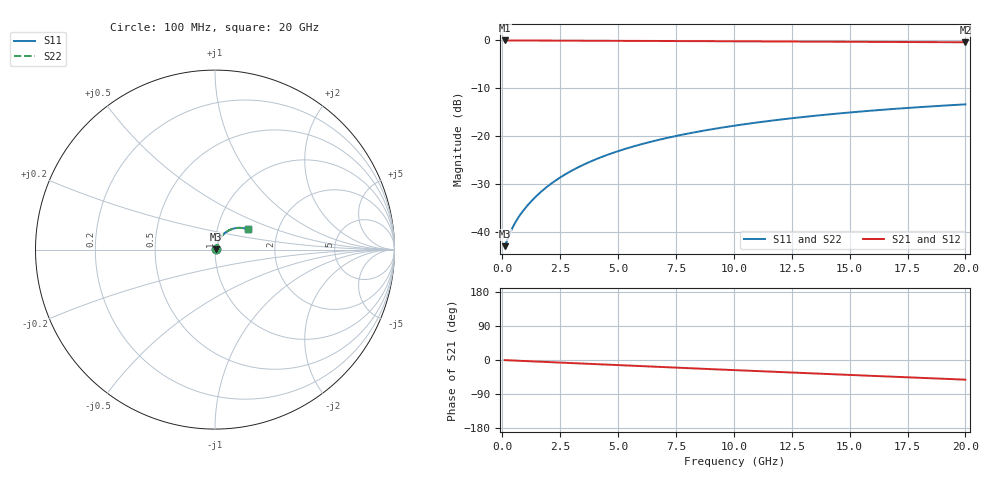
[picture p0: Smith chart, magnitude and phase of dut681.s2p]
! Touchstone file exported from HFSS 2026.1.0
!  File:  C:/ffzhzh/LocalFiles/Ansys_Project_Files/temp_train_TMRDL_681_1783010121_46388.aedt
!  Generated:  12:36:45 AM Jul  3, 2026
!  Design:  TMRDL
!  Project:  temp_train_TMRDL_681_1783010121_46388
! Variables:
!  h_bsmrdl = 2um
!  h_ox = 20um
!  h_rdl = 5um
!  h_sub = 80um
!  h_tmrdl = 3.41um
!  h_tsv = 80um
!  h_via = 3um
!  l_bsmrdl = 300um
!  l_sub = 1320.03um
!  l_tmrdl = 920.03um
!  m_sub = 200um
!  pitch = 20.82um
!  r_tsv = 6um
!  s_tmrdl = 10um
!  w_bsmrdl = 18um
!  w_sub = 500um
!  w_tmrdl = 14.12um
!  x_tsv_center1 = 927.09um
!  x_tsv_center2 = 1245.09um
!  x_tsv_center3 = 2179.24um
!  x_tsv_center4 = 2497.24um
!  x_tsv_center5 = 3431.39um
!  x_tsv_center6 = 3749.39um
# GHz S MA R 50.000000
! Terminal data exported
! Port[1] = TM_RDL1_1_T1
! Port[2] = TM_RDL1_1_T2
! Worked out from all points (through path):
!   200 points, 100 MHz to 20 GHz, reference 50 ohm
!   highest |S21| = -0.06 dB at 100 MHz (marker M1); lowest = -0.4 dB at 20 GHz (marker M2)
!   group delay of S21, straight-line fit = 7.19 ps
!   lowest |S11| = -43.0 dB at 100 MHz (marker M3), VSWR 1.01, Z = 50.7 + j0.195 ohm
!   |S11| at or under -10 dB: start of sweep to end of sweep
!   |S22| runs from -43.0 to -13.4 dB; largest |S21 - S12| = 4.1e-15
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0.1  0.007117 15.6  0.9932 -0.3  0.9932 -0.3  0.007117 15.6
! Gamma 0 0 0 0
! Port Impedance 50 0 50 0
0.4  0.01056 40.9  0.9921 -1.2  0.9921 -1.2  0.01056 40.9
0.6  0.01304 47.9  0.9915 -1.7  0.9915 -1.7  0.01304 47.9
0.7  0.01425 50.4  0.9913 -2.0  0.9913 -2.0  0.01425 50.4
0.9  0.01665 54.5  0.9909 -2.5  0.9909 -2.5  0.01665 54.5
1.1  0.01907 57.7  0.9906 -3.1  0.9906 -3.1  0.01907 57.7
1.3  0.02153 60.2  0.9903 -3.6  0.9903 -3.6  0.02153 60.1
1.5  0.02404 62.1  0.9901 -4.1  0.9901 -4.1  0.02404 62.1
1.8  0.02788 64.2  0.9898 -5.0  0.9898 -5.0  0.02788 64.2
2.3  0.03439 66.3  0.9892 -6.3  0.9892 -6.3  0.0344 66.2
2.9  0.0423 67.3  0.9884 -7.9  0.9884 -7.9  0.04231 67.3
3.5  0.05021 67.4  0.9875 -9.5  0.9875 -9.5  0.05022 67.4
4.2  0.05936 66.9  0.9863 -11.4  0.9863 -11.4  0.05937 66.9
5  0.06965 65.8  0.9847 -13.6  0.9847 -13.6  0.06966 65.8
5.9  0.08096 64.2  0.9828 -15.9  0.9828 -15.9  0.08096 64.1
6.8  0.09193 62.3  0.9808 -18.3  0.9808 -18.3  0.09194 62.3
8.3  0.1095 59.0  0.9772 -22.3  0.9772 -22.3  0.1095 59.0
10.1  0.1292 54.9  0.9728 -26.9  0.9728 -26.9  0.1292 54.8
11.7  0.1456 51.1  0.969 -31.0  0.969 -31.0  0.1456 51.0
13.4  0.1619 47.2  0.9649 -35.4  0.9649 -35.4  0.162 47.1
16.7  0.1903 39.5  0.9575 -43.7  0.9575 -43.7  0.1904 39.3
20  0.2142 31.8  0.9509 -51.9  0.9509 -51.9  0.2142 31.7
